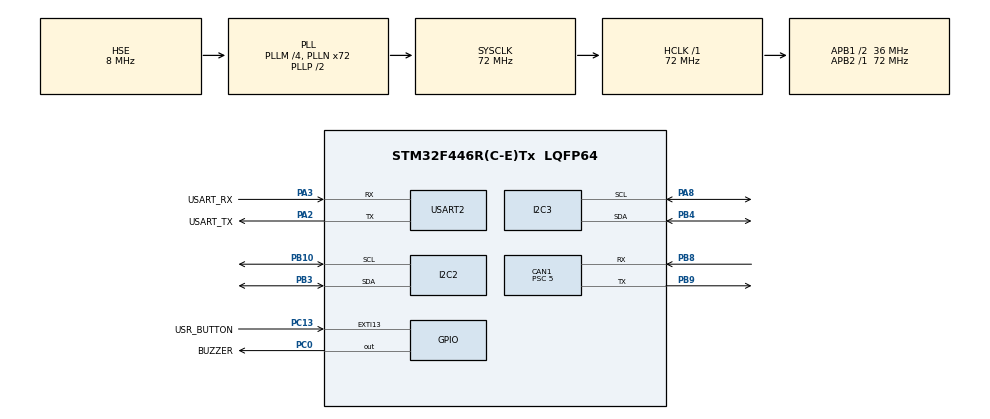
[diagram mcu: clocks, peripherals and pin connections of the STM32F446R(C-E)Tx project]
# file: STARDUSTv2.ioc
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CAN1.BS1=CAN_BS1_14TQ
CAN1.BS2=CAN_BS2_3TQ
CAN1.CalculateBaudRate=400000
CAN1.CalculateTimeBit=2500
CAN1.CalculateTimeQuantum=138.88888888888889
CAN1.Mode=CAN_MODE_NORMAL
CAN1.Prescaler=5
FREERTOS.Mutexes01=veriMutex,Dynamic,NULL,Available
FREERTOS.Tasks01=defaultTask,24,128,StartDefaultTask,Default,NULL,Dynamic,NULL,NULL;canTx,8,512,canTxTask,Default,NULL,Dynamic,NULL,NULL;stateGorev,8,512,stateGorevTask,Default,NULL,Dynamic,NULL,NULL
FREERTOS.configUSE_NEWLIB_REENTRANT=1
Mcu.Family=STM32F4
Mcu.Name=STM32F446R(C-E)Tx
Mcu.Package=LQFP64
NVIC.CAN1_RX0_IRQn=true\:5\:0\:false\:false\:true\:true\:true\:true\:true
NVIC.PriorityGroup=NVIC_PRIORITYGROUP_4
NVIC.TIM6_DAC_IRQn=true\:15\:0\:false\:false\:true\:false\:false\:true\:true
NVIC.TimeBase=TIM6_DAC_IRQn
NVIC.TimeBaseIP=TIM6
PA0-WKUP.Signal=UART4_TX
PA1.Signal=UART4_RX
PA13.GPIO_Label=TMS
PA13.Mode=Serial_Wire
PA13.Signal=SYS_JTMS-SWDIO
PA14.GPIO_Label=TCK
PA14.Mode=Serial_Wire
PA14.Signal=SYS_JTCK-SWCLK
PA2.GPIO_Label=USART_TX
PA2.Mode=Asynchronous
PA2.Signal=USART2_TX
PA3.GPIO_Label=USART_RX
PA3.Mode=Asynchronous
PA3.Signal=USART2_RX
PA4.Signal=SPI1_NSS
PA5.Signal=SPI1_SCK
PA6.Signal=SPI1_MISO
PA7.Signal=SPI1_MOSI
PA8.Mode=I2C
PA8.Signal=I2C3_SCL
PB10.Mode=I2C
PB10.Signal=I2C2_SCL
PB3.Mode=I2C
PB3.Signal=I2C2_SDA
PB4.Mode=I2C
PB4.Signal=I2C3_SDA
PB8.Mode=CAN_Activate
PB8.Signal=CAN1_RX
PB9.Mode=CAN_Activate
PB9.Signal=CAN1_TX
PC0.GPIO_Label=BUZZER
PC0.Signal=GPIO_Output
PC13.GPIO_Label=USR_BUTTON
PC13.GPIO_ModeDefaultEXTI=GPIO_MODE_IT_FALLING
PC13.Signal=GPXTI13
PC14-OSC32_IN.Mode=LSE-External-Oscillator
PC14-OSC32_IN.Signal=RCC_OSC32_IN
PC15-OSC32_OUT.Mode=LSE-External-Oscillator
PC15-OSC32_OUT.Signal=RCC_OSC32_OUT
PH0-OSC_IN.Mode=HSE-External-Oscillator
PH0-OSC_IN.Signal=RCC_OSC_IN
PH1-OSC_OUT.Mode=HSE-External-Oscillator
PH1-OSC_OUT.Signal=RCC_OSC_OUT
ProjectManager.HeapSize=0x200
ProjectManager.StackSize=0x400
ProjectManager.TargetToolchain=STM32CubeIDE
RCC.48MHZClocksFreq_Value=84000000
RCC.AHBFreq_Value=72000000
RCC.APB1CLKDivider=RCC_HCLK_DIV2
RCC.APB1Freq_Value=36000000
RCC.APB1TimFreq_Value=72000000
RCC.APB2Freq_Value=72000000
RCC.APB2TimFreq_Value=72000000
RCC.CortexFreq_Value=72000000
RCC.FLatency-AdvancedSettings=FLASH_LATENCY_2
RCC.HCLKFreq_Value=72000000
RCC.HSE_VALUE=8000000
RCC.HSI_VALUE=16000000
RCC.PLLM=4
RCC.PLLN=72
RCC.PLLSourceVirtual=RCC_PLLSOURCE_HSE
RCC.SYSCLKFreq_VALUE=72000000
RCC.SYSCLKSource=RCC_SYSCLKSOURCE_PLLCLK
RCC.USBFreq_Value=72000000
RCC.VCOOutputFreq_Value=144000000
USART2.VirtualMode=VM_ASYNC
VP_FREERTOS_VS_CMSIS_V2.Mode=CMSIS_V2
VP_SYS_VS_tim6.Mode=TIM6
board=NUCLEO-F446RE

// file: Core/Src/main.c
/* USER CODE BEGIN Header */
/**
  ******************************************************************************
  * @file           : main.c
  * @brief          : Main program body
  ******************************************************************************
  * @attention
  *
  * Copyright (c) 2026 STMicroelectronics.
  * All rights reserved.
  *
  * This software is licensed under terms that can be found in the LICENSE file
  * in the root directory of this software component.
  * If no LICENSE file comes with this software, it is provided AS-IS.
  *
  ******************************************************************************
  */
/* USER CODE END Header */
#include "main.h"
#include "cmsis_os.h"
#include "can.h"
#include "i2c.h"
#include "usart.h"
#include "gpio.h"

void SystemClock_Config(void);
void MX_FREERTOS_Init(void);

int main(void)
{

  /* MCU Configuration--------------------------------------------------------*/

  /* Reset of all peripherals, Initializes the Flash interface and the Systick. */
  HAL_Init();

  /* Configure the system clock */
  SystemClock_Config();

  /* Initialize all configured peripherals */
  MX_GPIO_Init();
  MX_USART2_UART_Init();
  MX_CAN1_Init();
  MX_I2C2_Init();
  MX_I2C3_Init();

  /* Init scheduler */
  osKernelInitialize();  /* Call init function for freertos objects (in cmsis_os2.c) */
  MX_FREERTOS_Init();

  /* Start scheduler */
  osKernelStart();

  /* We should never get here as control is now taken by the scheduler */

  /* Infinite loop */
  while (1)
  {

  }
}

void SystemClock_Config(void)
{
  RCC_OscInitTypeDef RCC_OscInitStruct = {0};
  RCC_ClkInitTypeDef RCC_ClkInitStruct = {0};

  /** Configure the main internal regulator output voltage
  */
  __HAL_RCC_PWR_CLK_ENABLE();
  __HAL_PWR_VOLTAGESCALING_CONFIG(PWR_REGULATOR_VOLTAGE_SCALE3);

  /** Initializes the RCC Oscillators according to the specified parameters
  * in the RCC_OscInitTypeDef structure.
  */
  RCC_OscInitStruct.OscillatorType = RCC_OSCILLATORTYPE_HSE;
  RCC_OscInitStruct.HSEState = RCC_HSE_ON;
  RCC_OscInitStruct.PLL.PLLState = RCC_PLL_ON;
  RCC_OscInitStruct.PLL.PLLSource = RCC_PLLSOURCE_HSE;
  RCC_OscInitStruct.PLL.PLLM = 4;
  RCC_OscInitStruct.PLL.PLLN = 72;
  RCC_OscInitStruct.PLL.PLLP = RCC_PLLP_DIV2;
  RCC_OscInitStruct.PLL.PLLQ = 2;
  RCC_OscInitStruct.PLL.PLLR = 2;
  if (HAL_RCC_OscConfig(&RCC_OscInitStruct) != HAL_OK)
  {
    Error_Handler();
  }

  /** Initializes the CPU, AHB and APB buses clocks
  */
  RCC_ClkInitStruct.ClockType = RCC_CLOCKTYPE_HCLK|RCC_CLOCKTYPE_SYSCLK
                              |RCC_CLOCKTYPE_PCLK1|RCC_CLOCKTYPE_PCLK2;
  RCC_ClkInitStruct.SYSCLKSource = RCC_SYSCLKSOURCE_PLLCLK;
  RCC_ClkInitStruct.AHBCLKDivider = RCC_SYSCLK_DIV1;
  RCC_ClkInitStruct.APB1CLKDivider = RCC_HCLK_DIV2;
  RCC_ClkInitStruct.APB2CLKDivider = RCC_HCLK_DIV1;

  if (HAL_RCC_ClockConfig(&RCC_ClkInitStruct, FLASH_LATENCY_2) != HAL_OK)
  {
    Error_Handler();
  }
}

void HAL_TIM_PeriodElapsedCallback(TIM_HandleTypeDef *htim)
{
  if (htim->Instance == TIM6)
  {
    HAL_IncTick();
  }
}

void Error_Handler(void)
{
  __disable_irq();
  while (1)
  {
  }
}

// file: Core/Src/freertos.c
/* USER CODE BEGIN Header */
/**
  ******************************************************************************
  * File Name          : freertos.c
  * Description        : Code for freertos applications
  ******************************************************************************
  * @attention
  *
  * Copyright (c) 2026 STMicroelectronics.
  * All rights reserved.
  *
  * This software is licensed under terms that can be found in the LICENSE file
  * in the root directory of this software component.
  * If no LICENSE file comes with this software, it is provided AS-IS.
  *
  ******************************************************************************
  */
/* USER CODE END Header */

#include "FreeRTOS.h"
#include "task.h"
#include "main.h"
#include "cmsis_os.h"

/* USER CODE BEGIN Includes */
#include "functions.h"
#include "settings.h"
/* USER CODE END Includes */

/* USER CODE BEGIN Variables */
extern bmi088_t imu;
/* USER CODE END Variables */
/* Definitions for defaultTask */
osThreadId_t defaultTaskHandle;
const osThreadAttr_t defaultTask_attributes = {
  .name = "defaultTask",
  .stack_size = 128 * 4,
  .priority = (osPriority_t) osPriorityNormal,
};
/* Definitions for canTx */
osThreadId_t canTxHandle;
const osThreadAttr_t canTx_attributes = {
  .name = "canTx",
  .stack_size = 512 * 4,
  .priority = (osPriority_t) osPriorityLow,
};
/* Definitions for stateGorev */
osThreadId_t stateGorevHandle;
const osThreadAttr_t stateGorev_attributes = {
  .name = "stateGorev",
  .stack_size = 512 * 4,
  .priority = (osPriority_t) osPriorityLow,
};
/* Definitions for veriMutex */
osMutexId_t veriMutexHandle;
const osMutexAttr_t veriMutex_attributes = {
  .name = "veriMutex"
};

void StartDefaultTask(void *argument);
void canTxTask(void *argument);
void stateGorevTask(void *argument);

void MX_FREERTOS_Init(void); /* (MISRA C 2004 rule 8.1) */

void MX_FREERTOS_Init(void) {
  /* Create the mutex(es) */
  /* creation of veriMutex */
  veriMutexHandle = osMutexNew(&veriMutex_attributes);

  /* Create the thread(s) */
  /* creation of defaultTask */
  defaultTaskHandle = osThreadNew(StartDefaultTask, NULL, &defaultTask_attributes);

  /* creation of canTx */
  canTxHandle = osThreadNew(canTxTask, NULL, &canTx_attributes);

  /* creation of stateGorev */
  stateGorevHandle = osThreadNew(stateGorevTask, NULL, &stateGorev_attributes);

}

void StartDefaultTask(void *argument)
{
  /* USER CODE BEGIN StartDefaultTask */

	  CAN_set();
	  MS5611_Init(&hi2c3, 0);
	  i2c_driver_init_i2c2();
	  imu.bus.read     = i2c_read_wrapper;
	  imu.bus.write    = i2c_write_wrapper;
	  imu.bus.dev_addr = BMI088_ACC_I2C_ADDR;
	  bmi088_init(&imu);

  /* Infinite loop */
  for(;;)
  {
    osDelay(1000);
  }
  /* USER CODE END StartDefaultTask */
}

void canTxTask(void *argument)
{
  /* USER CODE BEGIN canTxTask */
  /* Infinite loop */
  for(;;)
  {
	  CAN_telemetriGonder();
    osDelay(80);
  }
  /* USER CODE END canTxTask */
}

void stateGorevTask(void *argument)
{
  /* USER CODE BEGIN stateGorevTask */
	osDelay(500);
  /* Infinite loop */
  for(;;)
  {
	  veriOkuma();
	  hizHesaplama(ivmeToplam - 9.81f);
    osDelay(70);
  }
  /* USER CODE END stateGorevTask */
}
